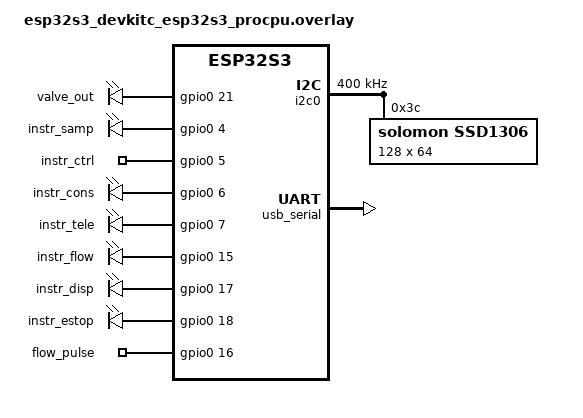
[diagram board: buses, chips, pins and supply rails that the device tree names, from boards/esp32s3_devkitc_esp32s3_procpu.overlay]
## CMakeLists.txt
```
cmake_minimum_required(VERSION 3.20.0)
find_package(Zephyr REQUIRED HINTS $ENV{ZEPHYR_BASE})
project(soilsense_superloop)

target_sources(app PRIVATE src/main.c)
target_sources_ifdef(CONFIG_LAB_FLASH_CACHE_OFF app PRIVATE src/cache_stm32l4.c)
```

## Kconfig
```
config LAB_FLASH_CACHE_OFF
	bool "Run with the STM32L4 ART instruction/data cache disabled"
	depends on SOC_SERIES_STM32L4X
	help
	  Week 2's second measurement: identical binary, cache off, so the jitter
	  difference is attributable to the flash accelerator alone. Pair it with
	  CONFIG_STM32_FLASH_PREFETCH=n to drop the prefetch buffer too.

config LAB06_JITTER_MAX_MS
	int "Lab 06 Task C: maximum artificial delay before actuating (ms)"
	default 0
	range 0 50
	help
	  Each control cycle waits a pseudo-random whole number of milliseconds in
	  [0, N] before it writes the valve duty. 0 compiles the injection out, so
	  the N = 0 build is the unmodified loop. The e-stop path is never delayed.
	  Build with: west build ... -- -DCONFIG_LAB06_JITTER_MAX_MS=<N>

source "Kconfig.zephyr"
```

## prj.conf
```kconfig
CONFIG_GPIO=y
CONFIG_ADC=y
CONFIG_SERIAL=y
CONFIG_CONSOLE=y
CONFIG_UART_CONSOLE=y
CONFIG_MAIN_STACK_SIZE=2048
CONFIG_IDLE_STACK_SIZE=256
CONFIG_ISR_STACK_SIZE=2048
CONFIG_SYSTEM_WORKQUEUE_STACK_SIZE=2048
CONFIG_MAIN_THREAD_PRIORITY=10
CONFIG_MULTITHREADING=y
CONFIG_THREAD_ANALYZER=y
CONFIG_INIT_STACKS=y
# ADR-005 (REQ-CONS-01): calib sleeps 400 us per round. At 1 kHz that rounds up to 2 ms
# (2000 ms for 1000 rounds, over the 1 s deadline); at 10 kHz it takes 500 ms.
CONFIG_SYS_CLOCK_TICKS_PER_SEC=10000
CONFIG_THREAD_ANALYZER_USE_PRINTK=y
CONFIG_THREAD_ANALYZER_AUTO=y
CONFIG_THREAD_ANALYZER_AUTO_INTERVAL=10
# Lab 05: with CTF tracing on, the analyzer thread needs ~1.2 KB of stack; the 1024 B
# default overflows and crashes the board in z_swap shortly after boot.
CONFIG_THREAD_ANALYZER_AUTO_STACK_SIZE=2048
# Per-thread CPU usage (%) in the analyzer output: Lab 05, "CPU load per thread"
CONFIG_THREAD_RUNTIME_STATS=y
# Habilitar Tracing y Nombres de Hilos (Task A)
CONFIG_THREAD_NAME=y
CONFIG_THREAD_MAX_NAME_LEN=20

CONFIG_TRACING=y
CONFIG_TRACING_CTF=y
# CTF over the USB-Serial-JTAG port (USB jack); console stays on the UART jack
CONFIG_TRACING_BACKEND_UART=y

# Lab 05: trace only the event classes the report documents (THREAD, ISR, SEMAPHORE,
# QUEUE, IDLE). Zephyr enables every other class by default; the report lists these five.
CONFIG_TRACING_SYSCALL=n
CONFIG_TRACING_WORK=n
CONFIG_TRACING_MUTEX=n
CONFIG_TRACING_CONDVAR=n
CONFIG_TRACING_FIFO=n
CONFIG_TRACING_LIFO=n
CONFIG_TRACING_STACK=n
CONFIG_TRACING_MESSAGE_QUEUE=n
CONFIG_TRACING_MAILBOX=n
CONFIG_TRACING_PIPE=n
CONFIG_TRACING_HEAP=n
CONFIG_TRACING_MEMORY_SLAB=n
CONFIG_TRACING_TIMER=n
CONFIG_TRACING_EVENT=n
CONFIG_TRACING_POLLING=n
CONFIG_TRACING_PM=n
```

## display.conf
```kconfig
# Opt-in HMI: west build ... -- -DEXTRA_CONF_FILE=display.conf
# Needs a larger part than the C0116-DK, whose 32 KB flash the font tables overflow.
CONFIG_I2C=y
CONFIG_DISPLAY=y
CONFIG_CHARACTER_FRAMEBUFFER=y
CONFIG_HEAP_MEM_POOL_SIZE=2048
```

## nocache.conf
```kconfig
# Week 2's cache-off run: west build ... -- -DEXTRA_CONF_FILE=nocache.conf
CONFIG_LAB_FLASH_CACHE_OFF=y
CONFIG_STM32_FLASH_PREFETCH=n
```

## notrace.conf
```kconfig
# Lab 05, Task C — "the price of looking": tracing OFF for the A/B jitter run.
#   tracing ON : west build -p auto -b esp32s3_devkitc/esp32s3/procpu firmware/kernel
#   tracing OFF: west build -p always -b esp32s3_devkitc/esp32s3/procpu firmware/kernel \
#                  -- -DEXTRA_CONF_FILE=notrace.conf
# Everything else (threads, priorities, GPIO instrumentation) stays identical.
# Kconfig prints two "choice symbol ... was selected" warnings because prj.conf
# still sets the CTF/UART choices; the merged .config has TRACING off (verified).
CONFIG_TRACING=n
CONFIG_TRACING_CTF=n
CONFIG_TRACING_BACKEND_UART=n
```

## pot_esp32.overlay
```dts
/*
 * Real pressure input, opt-in:
 *   west build ... -- -DEXTRA_DTC_OVERLAY_FILE=pot.overlay
 *
 * Wire the pot wiper to ADC1 channel 1 (ESP32-C6: GPIO1 · ESP32-S3: GPIO2),
 * the ends to 3V3 and GND. Channel 0 is the joystick input the C0116-DK has on
 * board; on the ESP32 devkits tie its pin (C6 GPIO0 · S3 GPIO1) to 3V3.
 */

#include <zephyr/dt-bindings/adc/adc.h>

/ {
	zephyr,user {
		io-channels = <&adc0 0>, <&adc0 1>;
	};
};

&adc0 {
	status = "okay";
	#address-cells = <1>;
	#size-cells = <0>;

	channel@0 {
		reg = <0>;
		zephyr,gain = "ADC_GAIN_1_4";
		zephyr,reference = "ADC_REF_INTERNAL";
		zephyr,acquisition-time = <ADC_ACQ_TIME_DEFAULT>;
		zephyr,resolution = <12>;
	};

	channel@1 {
		reg = <1>;
		zephyr,gain = "ADC_GAIN_1_4";
		zephyr,reference = "ADC_REF_INTERNAL";
		zephyr,acquisition-time = <ADC_ACQ_TIME_DEFAULT>;
		zephyr,resolution = <12>;
	};
};
```

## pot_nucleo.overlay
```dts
/*
 * Real pressure input on the NUCLEO-L476RG, opt-in:
 *   west build ... -- -DEXTRA_DTC_OVERLAY_FILE=pot_nucleo.overlay
 *
 * Pot wiper to A0 (PA0, ADC1_IN5), ends to 3V3 and GND. Channel 1 (A5 / PC0) is
 * the joystick input the C0116-DK has on board; tie A5 to 3V3 here.
 */

#include <zephyr/dt-bindings/adc/adc.h>

/ {
	zephyr,user {
		io-channels = <&adc1 1>, <&adc1 5>;
	};
};

&adc1 {
	pinctrl-0 = <&adc1_in1_pc0 &adc1_in5_pa0>;
	pinctrl-names = "default";
	vref-mv = <3300>;
	#address-cells = <1>;
	#size-cells = <0>;
	status = "okay";

	channel@1 {
		reg = <1>;
		zephyr,gain = "ADC_GAIN_1";
		zephyr,reference = "ADC_REF_INTERNAL";
		zephyr,acquisition-time = <ADC_ACQ_TIME_DEFAULT>;
		zephyr,resolution = <12>;
	};

	channel@5 {
		reg = <5>;
		zephyr,gain = "ADC_GAIN_1";
		zephyr,reference = "ADC_REF_INTERNAL";
		zephyr,acquisition-time = <ADC_ACQ_TIME_DEFAULT>;
		zephyr,resolution = <12>;
	};
};
```

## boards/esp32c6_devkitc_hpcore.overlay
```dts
/*
 * ESP32-C6-DevKitC-1 pin map. Only hardware description changes; the C does not.
 *
 * The six instrumentation pins are consecutive on the J3 header (23 down to 18),
 * so an 8-channel analyzer ribbon clips on in one go. Everything else stays
 * clear of the strapping pins (4/5/8/9/15), the USB-JTAG pair (12/13), the
 * console UART (16/17) and the SPI flash (24-30).
 *
 * Pressure comes from the synthetic plant until the pot is wired: build with
 * -DEXTRA_DTC_OVERLAY_FILE=pot_esp32.overlay to read it from ADC1 instead.
 */

#include <zephyr/dt-bindings/gpio/gpio.h>
#include <zephyr/dt-bindings/i2c/i2c.h>

/ {
	aliases {
		led0 = &valve_out;
	};

	leds {
		compatible = "gpio-leds";
		valve_out: valve_out { gpios = <&gpio0 11 GPIO_ACTIVE_HIGH>; };
	};

	instr {
		compatible = "gpio-leds";
		instr_samp: instr_samp { gpios = <&gpio0 18 GPIO_ACTIVE_HIGH>; };
		instr_ctrl: instr_ctrl { gpios = <&gpio0 19 GPIO_ACTIVE_HIGH>; };
		instr_cons: instr_cons { gpios = <&gpio0 20 GPIO_ACTIVE_HIGH>; };
		instr_tele: instr_tele { gpios = <&gpio0 21 GPIO_ACTIVE_HIGH>; };
		instr_flow: instr_flow { gpios = <&gpio0 22 GPIO_ACTIVE_HIGH>; };
		instr_disp: instr_disp { gpios = <&gpio0 23 GPIO_ACTIVE_HIGH>; };
	};

	keys {
		compatible = "gpio-keys";
		flow_pulse: flow_pulse {
			gpios = <&gpio0 3 (GPIO_ACTIVE_HIGH | GPIO_PULL_DOWN)>;
		};
	};
};

/* Optional SSD1306 HMI (build with -DEXTRA_CONF_FILE=display.conf).
 * i2c0 is already enabled by the board on SDA GPIO6 / SCL GPIO7. */
&i2c0 {
	ssd1306: ssd1306@3c {
		compatible = "solomon,ssd1306";
		reg = <0x3c>;
		width = <128>;
		height = <64>;
		segment-offset = <0>;
		page-offset = <0>;
		display-offset = <0>;
		multiplex-ratio = <63>;
		prechargep = <0x22>;
		segment-remap;
		com-invdir;
	};
};
```

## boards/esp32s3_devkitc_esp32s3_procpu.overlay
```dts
/*
 * ESP32-S3-DevKitC-1 pin map. Only hardware description changes; the C does not.
 *
 * The seven instrumentation pins sit together on the header so an 8-channel
 * analyzer ribbon clips on in one go.
 *
 * Pressure comes from the synthetic plant until the pot is wired: build with
 * -DEXTRA_DTC_OVERLAY_FILE=pot_esp32.overlay to read it from ADC1 instead.
 */

#include <zephyr/dt-bindings/gpio/gpio.h>
#include <zephyr/dt-bindings/i2c/i2c.h>

/ {
	aliases {
		led0 = &valve_out;
	};

	chosen {
		zephyr,tracing-uart = &usb_serial;
	};

	leds {
		compatible = "gpio-leds";
		valve_out: valve_out { gpios = <&gpio0 21 GPIO_ACTIVE_HIGH>; };
	};

	instr {
		compatible = "gpio-leds";
		instr_samp: instr_samp { gpios = <&gpio0 4 GPIO_ACTIVE_HIGH>; };
		instr_ctrl: instr_ctrl { gpios = <&gpio0 5 GPIO_ACTIVE_HIGH>; };
		instr_cons: instr_cons { gpios = <&gpio0 6 GPIO_ACTIVE_HIGH>; };
		instr_tele: instr_tele { gpios = <&gpio0 7 GPIO_ACTIVE_HIGH>; };
		instr_flow: instr_flow { gpios = <&gpio0 15 GPIO_ACTIVE_HIGH>; };
		instr_disp: instr_disp { gpios = <&gpio0 17 GPIO_ACTIVE_HIGH>; };
		instr_estop: instr_estop { gpios = <&gpio0 18 GPIO_ACTIVE_HIGH>; };  /* Lab 06 Task C: high while the e-stop is latched */
	};

	keys {
		compatible = "gpio-keys";
		flow_pulse: flow_pulse {
			gpios = <&gpio0 16 (GPIO_ACTIVE_HIGH | GPIO_PULL_DOWN)>;
		};
	};
};

/* Optional SSD1306 HMI (build with -DEXTRA_CONF_FILE=display.conf).
 * Default I2C pins on the DevKitC: SDA GPIO8, SCL GPIO9. */
&i2c0 {
	status = "okay";
	clock-frequency = <I2C_BITRATE_FAST>;

	ssd1306: ssd1306@3c {
		compatible = "solomon,ssd1306";
		reg = <0x3c>;
		width = <128>;
		height = <64>;
		segment-offset = <0>;
		page-offset = <0>;
		display-offset = <0>;
		multiplex-ratio = <63>;
		prechargep = <0x22>;
		segment-remap;
		com-invdir;
	};
};

/* CTF trace stream: USB-Serial-JTAG (USB jack) is a second CDC-ACM port,
 * so no external UART adapter is needed. The console stays on uart0. */
&usb_serial {
	status = "okay";
};
```

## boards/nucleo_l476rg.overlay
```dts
/*
 * NUCLEO-L476RG pin map. Only hardware description changes; the C does not.
 *
 * The six instrumentation pins are Arduino D3-D8, which is the same unbroken
 * run on the ST Morpho CN10 odd column (pins 31 down to 21), so the analyzer
 * ribbon clips onto either header. Flow input is D9; the valve is the board's
 * LD2, already aliased as led0 on PA5.
 *
 * Pressure comes from the synthetic plant until the pot is wired: build with
 * -DEXTRA_DTC_OVERLAY_FILE=pot_nucleo.overlay to read it from ADC1 instead.
 */

#include <zephyr/dt-bindings/gpio/gpio.h>

/ {
	instr {
		compatible = "gpio-leds";
		instr_samp: instr_samp { gpios = <&gpiob 3 GPIO_ACTIVE_HIGH>; };  /* D3 */
		instr_ctrl: instr_ctrl { gpios = <&gpiob 5 GPIO_ACTIVE_HIGH>; };  /* D4 */
		instr_cons: instr_cons { gpios = <&gpiob 4 GPIO_ACTIVE_HIGH>; };  /* D5 */
		instr_tele: instr_tele { gpios = <&gpiob 10 GPIO_ACTIVE_HIGH>; }; /* D6 */
		instr_flow: instr_flow { gpios = <&gpioa 8 GPIO_ACTIVE_HIGH>; };  /* D7 */
		instr_disp: instr_disp { gpios = <&gpioa 9 GPIO_ACTIVE_HIGH>; };  /* D8 */
	};

	keys {
		compatible = "gpio-keys";
		flow_pulse: flow_pulse {
			gpios = <&gpioc 7 (GPIO_ACTIVE_HIGH | GPIO_PULL_DOWN)>;   /* D9 */
		};
	};
};

/* These three claim D8/D2 (PA9/PA10) and the D5/D6 timer outputs by default;
 * here those pins carry instrumentation. The console stays on usart2/LD1. */
&usart1 { status = "disabled"; };
&pwm2   { status = "disabled"; };
&pwm3   { status = "disabled"; };

/* Optional SSD1306 HMI (build with -DEXTRA_CONF_FILE=display.conf).
 * i2c1 is already enabled by the board on SDA PB9 / SCL PB8 (D14/D15). */
&i2c1 {
	ssd1306: ssd1306@3c {
		compatible = "solomon,ssd1306";
		reg = <0x3c>;
		width = <128>;
		height = <64>;
		segment-offset = <0>;
		page-offset = <0>;
		display-offset = <0>;
		multiplex-ratio = <63>;
		prechargep = <0x22>;
		segment-remap;
		com-invdir;
	};
};
```

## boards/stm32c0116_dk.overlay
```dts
/*
 * STM32C0116-DK pin map — DRAFT, validate against the DIL20 silk before class.
 * Console stays on the ST-LINK VCP (USART2, PA2/PA3) — do not reuse those pins.
 */

#include <zephyr/dt-bindings/gpio/gpio.h>
#include <zephyr/dt-bindings/adc/adc.h>
#include <zephyr/dt-bindings/i2c/i2c.h>

/ {
	instr {
		compatible = "gpio-leds";
		instr_samp: instr_samp { gpios = <&gpioa 1 GPIO_ACTIVE_HIGH>; };
		instr_ctrl: instr_ctrl { gpios = <&gpioa 4 GPIO_ACTIVE_HIGH>; };
		instr_cons: instr_cons { gpios = <&gpioa 5 GPIO_ACTIVE_HIGH>; };
		instr_tele: instr_tele { gpios = <&gpioa 6 GPIO_ACTIVE_HIGH>; };
		instr_flow: instr_flow { gpios = <&gpioa 7 GPIO_ACTIVE_HIGH>; };
		instr_disp: instr_disp { gpios = <&gpioc 14 GPIO_ACTIVE_HIGH>; };
	};

	keys {
		compatible = "gpio-keys";
		flow_pulse: flow_pulse {
			gpios = <&gpiob 7 (GPIO_ACTIVE_HIGH | GPIO_PULL_DOWN)>;
		};
	};

	zephyr,user {
		/* idx 0 = joystick ladder (PA8), idx 1 = "pressure" pot (PA0) */
		io-channels = <&adc1 8>, <&adc1 0>;
	};
};

&adc1 {
	status = "okay";
	pinctrl-0 = <&adc1_in8_pa8 &adc1_in0_pa0>;
	pinctrl-names = "default";
	vref-mv = <3300>;
	#address-cells = <1>;
	#size-cells = <0>;

	channel@8 {
		reg = <8>;
		zephyr,gain = "ADC_GAIN_1";
		zephyr,reference = "ADC_REF_INTERNAL";
		zephyr,acquisition-time = <ADC_ACQ_TIME_DEFAULT>;
		zephyr,resolution = <12>;
	};
	channel@0 {
		reg = <0>;
		zephyr,gain = "ADC_GAIN_1";
		zephyr,reference = "ADC_REF_INTERNAL";
		zephyr,acquisition-time = <ADC_ACQ_TIME_DEFAULT>;
		zephyr,resolution = <12>;
	};
};

/* Optional SSD1306 HMI (build with -DEXTRA_CONF_FILE=display.conf).
 * PA9/PA10 assumed for I2C1 — if only PB6/PB7 route out on this package,
 * the valve LED and flow_pulse must move. Validate on the DK. */
&i2c1 {
	status = "okay";
	pinctrl-0 = <&i2c1_scl_pa9 &i2c1_sda_pa10>;
	pinctrl-names = "default";
	clock-frequency = <I2C_BITRATE_FAST>;

	ssd1306: ssd1306@3c {
		compatible = "solomon,ssd1306";
		reg = <0x3c>;
		width = <128>;
		height = <64>;
		segment-offset = <0>;
		page-offset = <0>;
		display-offset = <0>;
		multiplex-ratio = <63>;
		prechargep = <0x22>;
		segment-remap;
		com-invdir;
	};
};
```

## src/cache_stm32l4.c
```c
/*
 * Zephyr turns the L4's ART accelerator on for us in soc_early_init_hook().
 * This undoes it before the application starts, so the same binary can be
 * measured with and without the flash cache.
 */

#include <zephyr/init.h>
#include <stm32l4xx_ll_system.h>

static int lab_flash_cache_off(void)
{
	LL_FLASH_DisableInstCache();
	LL_FLASH_DisableDataCache();
	return 0;
}

SYS_INIT(lab_flash_cache_off, PRE_KERNEL_1, 0);
```
